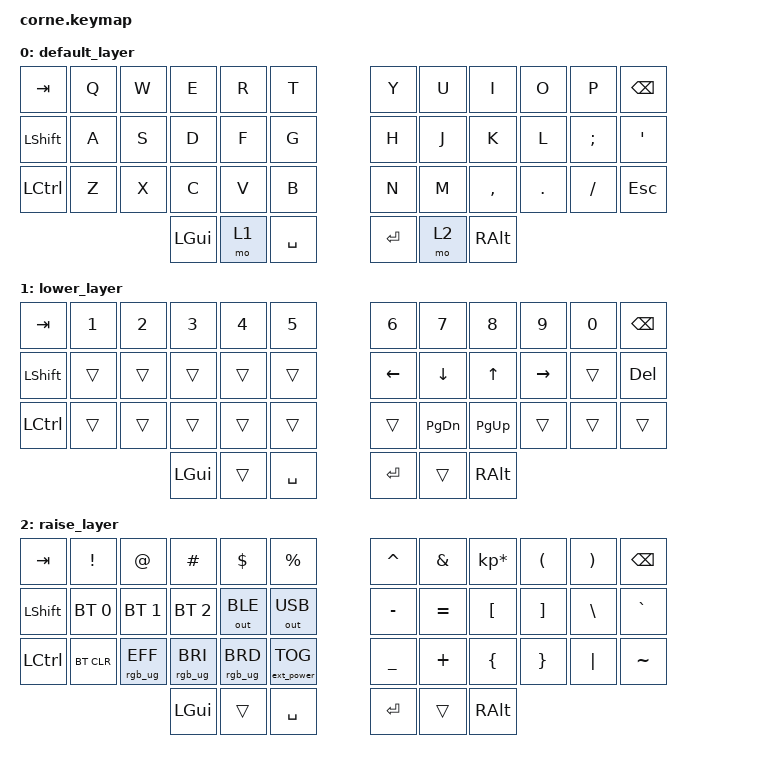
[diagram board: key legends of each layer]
/*
 * Copyright (c) 2020 The ZMK Contributors
 *
 * SPDX-License-Identifier: MIT
 */

#include <behaviors.dtsi>
#include <dt-bindings/zmk/keys.h>
#include <dt-bindings/zmk/bt.h>
#include <dt-bindings/zmk/ext_power.h>
#include <dt-bindings/zmk/rgb.h>
#include <dt-bindings/zmk/outputs.h>

&led_strip {
  chain-length = <21>;
  // 21 backlight + 6 glowlight
};

/ {
        keymap {
                compatible = "zmk,keymap";

                default_layer {
// -----------------------------------------------------------------------------------------
// | TAB  |  Q  |  W  |  E  |  R  |  T  |   |  Y  |  U   |  I  |  O  |  P  | BKSP |
// | SHFT |  A  |  S  |  D  |  F  |  G  |   |  H  |  J   |  K  |  L  |  ;  |  '   |
// | CTRL |  Z  |  X  |  C  |  V  |  B  |   |  N  |  M   |  ,  |  .  |  /  | ESC  |
//                    | GUI | LWR | SPC |   | ENT | RSE  | ALT |
                        bindings = <
   &kp TAB   &kp Q &kp W &kp E &kp R &kp T   &kp Y &kp U  &kp I     &kp O   &kp P    &kp BSPC
   &kp LSHFT &kp A &kp S &kp D &kp F &kp G   &kp H &kp J  &kp K     &kp L   &kp SEMI &kp SQT
   &kp LCTRL &kp Z &kp X &kp C &kp V &kp B   &kp N &kp M  &kp COMMA &kp DOT &kp FSLH &kp ESC
                  &kp LGUI &mo 1 &kp SPACE   &kp RET &mo 2 &kp RALT
                        >;
                };
                lower_layer {
// -----------------------------------------------------------------------------------------
// |  TAB |  1  |  2  |  3  |  4  |  5  |   |  6  |  7    |  8    |  9  |  0  | BKSP |
// | SHFT |     |     |     |     |     |   | LFT | DWN   |  UP   | RGT |     | DEL  |
// | CTRL |     |     |     |     |     |   |     | PG_DN | PG_UP |     |     |      |
//                    | GUI |     | SPC |   | ENT |       | ALT   |
                        bindings = <
   &kp TAB    &kp N1       &kp N2       &kp N3       &kp N4       &kp N5         &kp N6   &kp N7   &kp N8 &kp N9    &kp N0 &kp BSPC
   &kp LSHFT  &trans       &trans       &trans       &trans       &trans         &kp LEFT &kp DOWN &kp UP &kp RIGHT &trans &kp DEL
   &kp LCTRL  &trans       &trans       &trans       &trans       &trans         &trans   &kp PG_DN   &kp PG_UP &trans    &trans &trans
                                        &kp LGUI     &trans       &kp SPACE      &kp RET  &trans   &kp RALT
                        >;
                };

                raise_layer {
// -----------------------------------------------------------------------------------------
// |  TAB |  !  |  @    |  #    |  $    |  %    |   |  ^  |  &  |  *  |  (  |  )  | BKSP |
// | SHFT | BT1 | BT2   | BT3   |OUT_BLE|OUT_USB|   |  -  |  =  |  [  |  ]  |  \  |  `   |
// | CTRL |BTCLR|RGB_EFF|RGB_BRI|RGB_BRD| EP_TOG|   |  _  |  +  |  {  |  }  | "|" |  ~   |
//                      | GUI   |       | SPC   |   | ENT |     | ALT |
                        bindings = <
   &kp  TAB  &kp EXCL     &kp AT          &kp HASH          &kp DLLR          &kp PRCNT              &kp CARET &kp AMPS  &kp KP_MULTIPLY &kp LPAR &kp RPAR &kp BSPC
   &kp LSHFT &bt BT_SEL 0 &bt BT_SEL 1    &bt BT_SEL 2      &out OUT_BLE      &out OUT_USB           &kp MINUS &kp EQUAL &kp LBKT        &kp RBKT &kp BSLH &kp GRAVE
   &kp LCTRL &bt BT_CLR   &rgb_ug RGB_EFF &rgb_ug RGB_BRI   &rgb_ug RGB_BRD   &ext_power EP_TOG      &kp UNDER &kp PLUS  &kp LBRC        &kp RBRC &kp PIPE &kp TILDE
                                          &kp LGUI          &trans            &kp SPACE              &kp RET   &trans    &kp RALT
                        >;
                };
        };
};
